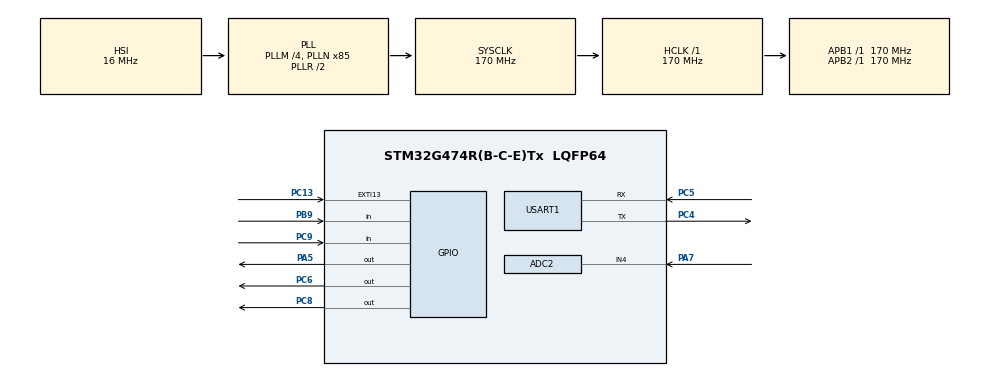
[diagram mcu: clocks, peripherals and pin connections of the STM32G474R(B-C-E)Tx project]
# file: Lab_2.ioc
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ADC2.Channel-0\#ChannelRegularConversion=ADC_CHANNEL_4
ADC2.NbrOfConversion=1
ADC2.NbrOfConversionFlag=1
ADC2.OffsetNumber-0\#ChannelRegularConversion=ADC_OFFSET_NONE
ADC2.Rank-0\#ChannelRegularConversion=1
ADC2.SamplingTime-0\#ChannelRegularConversion=ADC_SAMPLETIME_640CYCLES_5
Mcu.Family=STM32G4
Mcu.Name=STM32G474R(B-C-E)Tx
Mcu.Package=LQFP64
NUCLEO-G474RE.BUTTON=1
NUCLEO-G474RE.Bsp_Common_DEMO=true
NUCLEO-G474RE.LD2=true
NUCLEO-G474RE.VCP=true
NVIC.EXTI15_10_IRQn=true\:0\:0\:false\:false\:true\:true\:true\:true
NVIC.PriorityGroup=NVIC_PRIORITYGROUP_4
PA13.GPIO_Label=T_SWDIO
PA13.Signal=SYS_JTMS-SWDIO
PA14.GPIO_Label=T_SWCLK
PA14.Signal=SYS_JTCK-SWCLK
PA2.Signal=LPUART1_TX
PA3.Signal=LPUART1_RX
PA5.Signal=GPIO_Output
PA7.Mode=IN4-Single-Ended
PA7.Signal=ADC2_IN4
PB3.GPIO_Label=T_SWO
PB3.Signal=SYS_JTDO-SWO
PB9.GPIO_PuPd=GPIO_PULLUP
PB9.Signal=GPIO_Input
PC13.Signal=GPXTI13
PC14-OSC32_IN.GPIO_Label=RCC_OSC32_IN
PC14-OSC32_IN.Signal=RCC_OSC32_IN
PC15-OSC32_OUT.GPIO_Label=RCC_OSC32_OUT
PC15-OSC32_OUT.Signal=RCC_OSC32_OUT
PC4.Mode=Asynchronous
PC4.Signal=USART1_TX
PC5.Mode=Asynchronous
PC5.Signal=USART1_RX
PC6.Signal=GPIO_Output
PC8.Signal=GPIO_Output
PC9.GPIO_PuPd=GPIO_PULLUP
PC9.Signal=GPIO_Input
PF0-OSC_IN.GPIO_Label=RCC_OSC_IN
PF0-OSC_IN.Signal=RCC_OSC_IN
PF1-OSC_OUT.GPIO_Label=RCC_OSC_OUT
PF1-OSC_OUT.Signal=RCC_OSC_OUT
ProjectManager.HeapSize=0x200
ProjectManager.StackSize=0x400
ProjectManager.TargetToolchain=STM32CubeIDE
RCC.ADC12Freq_Value=170000000
RCC.ADC345Freq_Value=170000000
RCC.AHBFreq_Value=170000000
RCC.APB1Freq_Value=170000000
RCC.APB1TimFreq_Value=170000000
RCC.APB2Freq_Value=170000000
RCC.APB2TimFreq_Value=170000000
RCC.CortexFreq_Value=170000000
RCC.EXTERNAL_CLOCK_VALUE=12288000
RCC.HCLKFreq_Value=170000000
RCC.HSE_VALUE=24000000
RCC.HSI48_VALUE=48000000
RCC.HSI_VALUE=16000000
RCC.LSE_VALUE=32768
RCC.PLLM=RCC_PLLM_DIV4
RCC.PLLN=85
RCC.RTCClockSelection=RCC_RTCCLKSOURCE_LSE
RCC.SYSCLKFreq_VALUE=170000000
RCC.SYSCLKSource=RCC_SYSCLKSOURCE_PLLCLK
RCC.USBFreq_Value=170000000
RCC.VCOOutputFreq_Value=340000000
USART1.VirtualMode-Asynchronous=VM_ASYNC
VP_NUCLEO-G474RE_VS_BSP_COMMON.Mode=COMMON
VP_SYS_VS_DBSignals.Mode=DisableDeadBatterySignals
board=NUCLEO-G474RE

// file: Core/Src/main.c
/* USER CODE BEGIN Header */
/**
  ******************************************************************************
  * @file           : main.c
  * @brief          : Main program body
  ******************************************************************************
  * @attention
  *
  * Copyright (c) 2025 STMicroelectronics.
  * All rights reserved.
  *
  * This software is licensed under terms that can be found in the LICENSE file
  * in the root directory of this software component.
  * If no LICENSE file comes with this software, it is provided AS-IS.
  *
  ******************************************************************************
  */
/* USER CODE END Header */
#include "main.h"

/* USER CODE BEGIN Includes */
uint16_t value;
uint16_t value_V;
#define MaxVoltage_mV 3300
/* USER CODE END Includes */

COM_InitTypeDef BspCOMInit;
__IO uint32_t BspButtonState = BUTTON_RELEASED;
ADC_HandleTypeDef hadc2;

UART_HandleTypeDef huart1;

/* USER CODE BEGIN PV */
void MeasureADC(void);
/* USER CODE END PV */

void SystemClock_Config(void);
static void MX_GPIO_Init(void);
static void MX_ADC2_Init(void);
static void MX_USART1_UART_Init(void);

int main(void)
{

  /* MCU Configuration--------------------------------------------------------*/

  /* Reset of all peripherals, Initializes the Flash interface and the Systick. */
  HAL_Init();

  /* Configure the system clock */
  SystemClock_Config();

  /* Initialize all configured peripherals */
  MX_GPIO_Init();
  MX_ADC2_Init();
  MX_USART1_UART_Init();
  /* USER CODE BEGIN 2 */
HAL_ADCEx_Calibration_Start(&hadc2, ADC_SINGLE_ENDED);
MeasureADC();
  /* USER CODE END 2 */

  /* Initialize led */
  BSP_LED_Init(LED_GREEN);

  /* Initialize USER push-button, will be used to trigger an interrupt each time it's pressed.*/
  BSP_PB_Init(BUTTON_USER, BUTTON_MODE_EXTI);

  /* Initialize COM1 port (115200, 8 bits (7-bit data + 1 stop bit), no parity */
  BspCOMInit.BaudRate   = 115200;
  BspCOMInit.WordLength = COM_WORDLENGTH_8B;
  BspCOMInit.StopBits   = COM_STOPBITS_1;
  BspCOMInit.Parity     = COM_PARITY_NONE;
  BspCOMInit.HwFlowCtl  = COM_HWCONTROL_NONE;
  if (BSP_COM_Init(COM1, &BspCOMInit) != BSP_ERROR_NONE)
  {
    Error_Handler();
  }

  /* USER CODE BEGIN BSP */

  /* -- Sample board code to send message over COM1 port ---- */
  printf("Welcome to STM32 world !\n\r");

  /* -- Sample board code to switch on led ---- */
  BSP_LED_On(LED_GREEN);

  /* USER CODE END BSP */

  /* Infinite loop */
  /* USER CODE BEGIN WHILE */
  while (1)
  {

	  int buttonstate1=0;
	  int buttonstate2=0;

	  MeasureADC();

	  buttonstate1=HAL_GPIO_ReadPin(GPIOB, GPIO_PIN_9);
	  buttonstate2=HAL_GPIO_ReadPin(GPIOC, GPIO_PIN_9);

    /* -- Sample board code for User push-button in interrupt mode ---- */
    if (buttonstate1 == 0)
    {

     HAL_GPIO_WritePin(GPIOC, GPIO_PIN_8, 1);
     HAL_GPIO_WritePin(GPIOC, GPIO_PIN_6, 0);

      /* ..... Perform your action ..... */
    }

    if (buttonstate2 == 0)
        {

         HAL_GPIO_WritePin(GPIOC, GPIO_PIN_6, 1);
         HAL_GPIO_WritePin(GPIOC, GPIO_PIN_8, 0);

          /* ..... Perform your action ..... */
        }

    if (buttonstate2==1 && buttonstate1==1)
           {

            HAL_GPIO_WritePin(GPIOC, GPIO_PIN_6, 0);
            HAL_GPIO_WritePin(GPIOC, GPIO_PIN_8, 0);

             /* ..... Perform your action ..... */
           }

    if (buttonstate2==0 && buttonstate1==0)
              {

               HAL_GPIO_WritePin(GPIOC, GPIO_PIN_6, 0);
               HAL_GPIO_WritePin(GPIOC, GPIO_PIN_8, 0);

                /* ..... Perform your action ..... */
              }

    /* USER CODE END WHILE */

  }
}

void SystemClock_Config(void)
{
  RCC_OscInitTypeDef RCC_OscInitStruct = {0};
  RCC_ClkInitTypeDef RCC_ClkInitStruct = {0};

  /** Configure the main internal regulator output voltage
  */
  HAL_PWREx_ControlVoltageScaling(PWR_REGULATOR_VOLTAGE_SCALE1_BOOST);

  /** Initializes the RCC Oscillators according to the specified parameters
  * in the RCC_OscInitTypeDef structure.
  */
  RCC_OscInitStruct.OscillatorType = RCC_OSCILLATORTYPE_HSI;
  RCC_OscInitStruct.HSIState = RCC_HSI_ON;
  RCC_OscInitStruct.HSICalibrationValue = RCC_HSICALIBRATION_DEFAULT;
  RCC_OscInitStruct.PLL.PLLState = RCC_PLL_ON;
  RCC_OscInitStruct.PLL.PLLSource = RCC_PLLSOURCE_HSI;
  RCC_OscInitStruct.PLL.PLLM = RCC_PLLM_DIV4;
  RCC_OscInitStruct.PLL.PLLN = 85;
  RCC_OscInitStruct.PLL.PLLP = RCC_PLLP_DIV2;
  RCC_OscInitStruct.PLL.PLLQ = RCC_PLLQ_DIV2;
  RCC_OscInitStruct.PLL.PLLR = RCC_PLLR_DIV2;
  if (HAL_RCC_OscConfig(&RCC_OscInitStruct) != HAL_OK)
  {
    Error_Handler();
  }

  /** Initializes the CPU, AHB and APB buses clocks
  */
  RCC_ClkInitStruct.ClockType = RCC_CLOCKTYPE_HCLK|RCC_CLOCKTYPE_SYSCLK
                              |RCC_CLOCKTYPE_PCLK1|RCC_CLOCKTYPE_PCLK2;
  RCC_ClkInitStruct.SYSCLKSource = RCC_SYSCLKSOURCE_PLLCLK;
  RCC_ClkInitStruct.AHBCLKDivider = RCC_SYSCLK_DIV1;
  RCC_ClkInitStruct.APB1CLKDivider = RCC_HCLK_DIV1;
  RCC_ClkInitStruct.APB2CLKDivider = RCC_HCLK_DIV1;

  if (HAL_RCC_ClockConfig(&RCC_ClkInitStruct, FLASH_LATENCY_4) != HAL_OK)
  {
    Error_Handler();
  }
}

static void MX_ADC2_Init(void)
{

  ADC_ChannelConfTypeDef sConfig = {0};

  /** Common config
  */
  hadc2.Instance = ADC2;
  hadc2.Init.ClockPrescaler = ADC_CLOCK_SYNC_PCLK_DIV4;
  hadc2.Init.Resolution = ADC_RESOLUTION_12B;
  hadc2.Init.DataAlign = ADC_DATAALIGN_RIGHT;
  hadc2.Init.GainCompensation = 0;
  hadc2.Init.ScanConvMode = ADC_SCAN_DISABLE;
  hadc2.Init.EOCSelection = ADC_EOC_SINGLE_CONV;
  hadc2.Init.LowPowerAutoWait = DISABLE;
  hadc2.Init.ContinuousConvMode = DISABLE;
  hadc2.Init.NbrOfConversion = 1;
  hadc2.Init.DiscontinuousConvMode = DISABLE;
  hadc2.Init.ExternalTrigConv = ADC_SOFTWARE_START;
  hadc2.Init.ExternalTrigConvEdge = ADC_EXTERNALTRIGCONVEDGE_NONE;
  hadc2.Init.DMAContinuousRequests = DISABLE;
  hadc2.Init.Overrun = ADC_OVR_DATA_PRESERVED;
  hadc2.Init.OversamplingMode = DISABLE;
  if (HAL_ADC_Init(&hadc2) != HAL_OK)
  {
    Error_Handler();
  }

  /** Configure Regular Channel
  */
  sConfig.Channel = ADC_CHANNEL_4;
  sConfig.Rank = ADC_REGULAR_RANK_1;
  sConfig.SamplingTime = ADC_SAMPLETIME_640CYCLES_5;
  sConfig.SingleDiff = ADC_SINGLE_ENDED;
  sConfig.OffsetNumber = ADC_OFFSET_NONE;
  sConfig.Offset = 0;
  if (HAL_ADC_ConfigChannel(&hadc2, &sConfig) != HAL_OK)
  {
    Error_Handler();
  }

}

static void MX_USART1_UART_Init(void)
{

  huart1.Instance = USART1;
  huart1.Init.BaudRate = 115200;
  huart1.Init.WordLength = UART_WORDLENGTH_8B;
  huart1.Init.StopBits = UART_STOPBITS_1;
  huart1.Init.Parity = UART_PARITY_NONE;
  huart1.Init.Mode = UART_MODE_TX_RX;
  huart1.Init.HwFlowCtl = UART_HWCONTROL_NONE;
  huart1.Init.OverSampling = UART_OVERSAMPLING_16;
  huart1.Init.OneBitSampling = UART_ONE_BIT_SAMPLE_DISABLE;
  huart1.Init.ClockPrescaler = UART_PRESCALER_DIV1;
  huart1.AdvancedInit.AdvFeatureInit = UART_ADVFEATURE_NO_INIT;
  if (HAL_UART_Init(&huart1) != HAL_OK)
  {
    Error_Handler();
  }
  if (HAL_UARTEx_SetTxFifoThreshold(&huart1, UART_TXFIFO_THRESHOLD_1_8) != HAL_OK)
  {
    Error_Handler();
  }
  if (HAL_UARTEx_SetRxFifoThreshold(&huart1, UART_RXFIFO_THRESHOLD_1_8) != HAL_OK)
  {
    Error_Handler();
  }
  if (HAL_UARTEx_DisableFifoMode(&huart1) != HAL_OK)
  {
    Error_Handler();
  }

}

static void MX_GPIO_Init(void)
{
  GPIO_InitTypeDef GPIO_InitStruct = {0};

  /* GPIO Ports Clock Enable */
  __HAL_RCC_GPIOC_CLK_ENABLE();
  __HAL_RCC_GPIOF_CLK_ENABLE();
  __HAL_RCC_GPIOA_CLK_ENABLE();
  __HAL_RCC_GPIOB_CLK_ENABLE();

  /*Configure GPIO pin Output Level */
  HAL_GPIO_WritePin(GPIOC, GPIO_PIN_6|GPIO_PIN_8, GPIO_PIN_RESET);

  /*Configure GPIO pins : PC6 PC8 */
  GPIO_InitStruct.Pin = GPIO_PIN_6|GPIO_PIN_8;
  GPIO_InitStruct.Mode = GPIO_MODE_OUTPUT_PP;
  GPIO_InitStruct.Pull = GPIO_NOPULL;
  GPIO_InitStruct.Speed = GPIO_SPEED_FREQ_LOW;
  HAL_GPIO_Init(GPIOC, &GPIO_InitStruct);

  /*Configure GPIO pin : PC9 */
  GPIO_InitStruct.Pin = GPIO_PIN_9;
  GPIO_InitStruct.Mode = GPIO_MODE_INPUT;
  GPIO_InitStruct.Pull = GPIO_PULLUP;
  HAL_GPIO_Init(GPIOC, &GPIO_InitStruct);

  /*Configure GPIO pin : PB9 */
  GPIO_InitStruct.Pin = GPIO_PIN_9;
  GPIO_InitStruct.Mode = GPIO_MODE_INPUT;
  GPIO_InitStruct.Pull = GPIO_PULLUP;
  HAL_GPIO_Init(GPIOB, &GPIO_InitStruct);

}

/* USER CODE BEGIN 4 */
void MeasureADC(void)
{
	HAL_ADC_Start(&hadc2);

			while(HAL_ADC_PollForConversion(&hadc2, HAL_MAX_DELAY)!=HAL_OK)
			{

			}
			value=HAL_ADC_GetValue(&hadc2);
			value_V=__HAL_ADC_CALC_DATA_TO_VOLTAGE(MaxVoltage_mV,value,ADC_RESOLUTION_12B);
}
/* USER CODE END 4 */

/**
  * @brief BSP Push Button callback
  * @param Button Specifies the pressed button
  * @retval None
  */
void BSP_PB_Callback(Button_TypeDef Button)
{
  if (Button == BUTTON_USER)
  {
    BspButtonState = BUTTON_PRESSED;
  }
}

void Error_Handler(void)
{
  __disable_irq();
  while (1)
  {
  }
}
